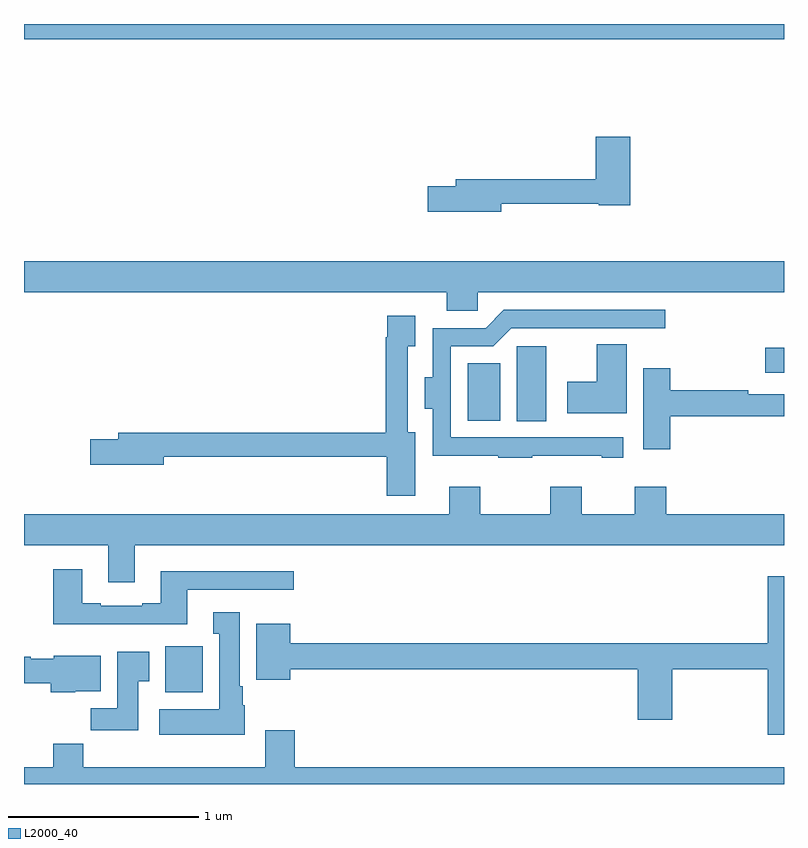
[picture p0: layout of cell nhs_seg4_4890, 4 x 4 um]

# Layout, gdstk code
import gdstk
lib = gdstk.Library(unit=1e-6, precision=1e-09)
def R(c, l, rs):  # rectangles x0, y0, x1, y1
    for r in rs: c.add(gdstk.rectangle(r[:2], r[2:], *l))
def P(c, l, *ps):  # polygons
    for p in ps: c.add(gdstk.Polygon(p, *l))
L2000_40 = (2000, 40)

nhs_seg4_4890 = lib.new_cell('nhs_seg4_4890')
R(nhs_seg4_4890, L2000_40, [(375.743,793.382,375.94,793.624), (377.594,794.809,377.749,795.204), (377.336,794.813,377.506,795.115), (378.9,795.065,379,795.195), (375,796.82,379,796.9)])
P(nhs_seg4_4890, L2000_40, [(377.512,795.954),(378.024,795.954),(378.024,795.946),(378.191,795.946),(378.191,796.306),(378.008,796.306),(378.008,796.082),(377.273,796.082),(377.273,796.046),(377.124,796.046),(377.124,795.911),(377.512,795.911)],
  [(377.388,795.488),(379,795.488),(379,795.652),(375,795.652),(375,795.488),(377.225,795.488),(377.225,795.39),(377.388,795.39)],
  [(377.675,794.627),(378.041,794.627),(378.041,794.616),(378.154,794.616),(378.154,794.724),(377.247,794.724),(377.247,795.204),(377.469,795.204),(377.565,795.3),(378.376,795.3),(378.376,795.396),(377.526,795.396),(377.43,795.3),(377.15,795.3),(377.15,795.04),(377.108,795.04),(377.108,794.876),(377.151,794.876),(377.151,794.627),(377.497,794.627),(377.497,794.616),(377.675,794.616)],
  [(377.059,794.752),(377.019,794.752),(377.019,795.203),(377.059,795.203),(377.059,795.364),(376.911,795.364),(376.911,795.251),(376.903,795.251),(376.903,794.75),(375.497,794.75),(375.497,794.714),(375.348,794.714),(375.348,794.579),(375.736,794.579),(375.736,794.622),(376.91,794.622),(376.91,794.418),(377.059,794.418)],
  [(378.172,795.215),(378.014,795.215),(378.014,795.016),(377.859,795.016),(377.859,794.852),(378.172,794.852)],
  [(378.401,794.836),(379,794.836),(379,794.952),(378.812,794.952),(378.812,794.972),(378.401,794.972),(378.401,795.088),(378.26,795.088),(378.26,794.661),(378.401,794.661)],
  [(379,794.32),(378.379,794.32),(378.379,794.464),(378.215,794.464),(378.215,794.32),(377.935,794.32),(377.935,794.464),(377.771,794.464),(377.771,794.32),(377.401,794.32),(377.401,794.464),(377.237,794.464),(377.237,794.32),(375,794.32),(375,794.156),(375.443,794.156),(375.443,793.962),(375.583,793.962),(375.583,794.156),(379,794.156)],
  [(375.859,793.923),(376.42,793.923),(376.42,794.02),(375.719,794.02),(375.719,793.852),(375.623,793.852),(375.623,793.839),(375.403,793.839),(375.403,793.852),(375.307,793.852),(375.307,794.029),(375.155,794.029),(375.155,793.742),(375.859,793.742)],
  [(379,793.993),(378.914,793.993),(378.914,793.64),(376.402,793.64),(376.402,793.744),(376.223,793.744),(376.223,793.448),(376.402,793.448),(376.402,793.504),(378.23,793.504),(378.23,793.239),(378.413,793.239),(378.413,793.504),(378.914,793.504),(378.914,793.158),(379,793.158)],
  [(376.162,793.314),(376.15,793.314),(376.15,793.414),(376.135,793.414),(376.135,793.804),(375.995,793.804),(375.995,793.691),(376.028,793.691),(376.028,793.294),(375.711,793.294),(375.711,793.16),(376.162,793.16)],
  [(375.601,793.441),(375.658,793.441),(375.658,793.597),(375.491,793.597),(375.491,793.3),(375.352,793.3),(375.352,793.182),(375.601,793.182)],
  [(375.27,793.388),(375.403,793.388),(375.403,793.576),(375.156,793.576),(375.156,793.558),(375.036,793.558),(375.036,793.571),(375,793.571),(375,793.429),(375.14,793.429),(375.14,793.382),(375.27,793.382)],
  [(379,792.988),(376.424,792.988),(376.424,793.183),(376.271,793.183),(376.271,792.988),(375.311,792.988),(375.311,793.112),(375.155,793.112),(375.155,792.988),(375,792.988),(375,792.9),(379,792.9)])

lib.write_gds('nhs_seg4_4890.gds')
